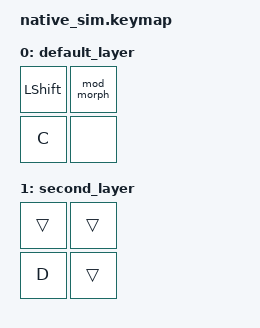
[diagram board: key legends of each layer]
#include <dt-bindings/zmk/keys.h>
#include <behaviors.dtsi>
#include <dt-bindings/zmk/input_mock.h>

&mock_input {
    events = <
        /* Shift + hold &mod_morph --> expect and get D (no shift) */
        ZMK_INPUT_MOCK_PRESS(0,0,10)
        ZMK_INPUT_MOCK_PRESS(0,1,200)
        ZMK_INPUT_MOCK_PRESS(1,0,10)
        ZMK_INPUT_MOCK_RELEASE(1,0,10)
        ZMK_INPUT_MOCK_RELEASE(0,1,10)
        ZMK_INPUT_MOCK_RELEASE(0,0,10)
    >;
};

/ {
    behaviors {
        mod_morph: mod_morph {
            compatible = "zmk,behavior-mod-morph";
            #binding-cells = <0>;
            bindings = <&kp A>, <&lt 1 B>;
            mods = <(MOD_LSFT|MOD_RSFT)>;
        };

    };

    keymap {
        compatible = "zmk,keymap";

        default_layer {
            bindings = <
                &kp LEFT_SHIFT &mod_morph
                &kp C &none
            >;
        };

        second_layer {
            bindings = <
                &trans &trans
                &kp D &trans
            >;
        };
    };
};
